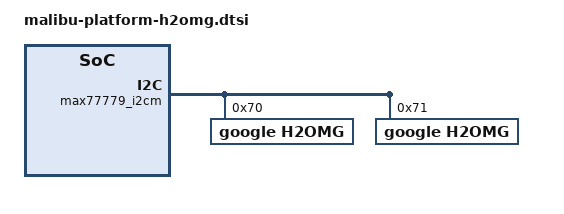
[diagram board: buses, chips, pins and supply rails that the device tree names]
// SPDX-License-Identifier: GPL-2.0-only
/*
 * Water Intrusion Detection Sensor
 *
 * Copyright 2025 Google LLC
 *
 */

&max77779_i2cm {
	h2omg@70 {
		reg = <0x70>;
		compatible = "google,h2omg";
		control = /bits/ 8 <0x47>;

		pinctrl-names = "default";
		pinctrl-0 = <&drip2aoss_int_od_l_1v2>;
		h2omg_irq-gpios = <DRIP2AOSS_INT_OD_L_1V2(GPIO_ACTIVE_LOW)>;

		/* board divides the vref input */
		vref_div;

		/* require both sensors to trigger fuse */
		dual-trigger;
		/* if one sensor is wet longer than 5 m blow fuse */
		trigger_delay_ms = <90000>; /* 90 sec */
	};

	h2omg@71 {
		reg = <0x71>;
		compatible = "google,h2omg";

		control = /bits/ 8 <0x47>;
		pinctrl-names = "default";
		pinctrl-0 = <&drip2aoss_int_od_l_1v2>;
		h2omg_irq-gpios = <DRIP2AOSS_INT_OD_L_1V2(GPIO_ACTIVE_LOW)>;

		/* board divides the vref input */
		vref_div;

		/* require both sensors to trigger fuse */
		dual-trigger;
		/* if one sensor is wet longer than 5 m blow fuse */
		trigger_delay_ms = <90000>; /* 90 sec */
	};
};
